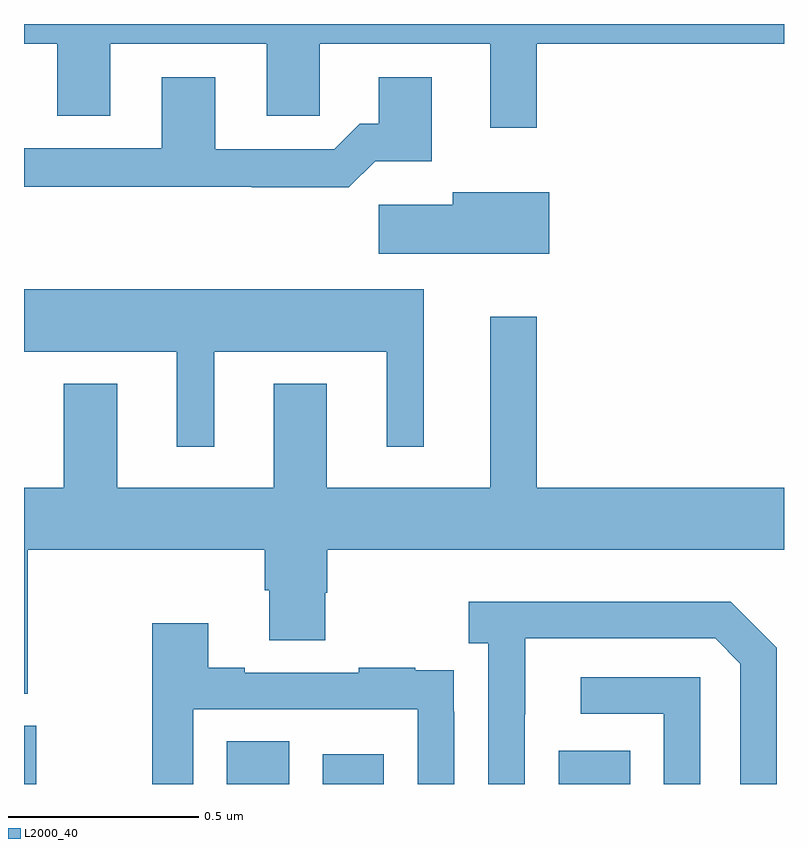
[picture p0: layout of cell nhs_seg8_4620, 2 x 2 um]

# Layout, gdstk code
import gdstk
lib = gdstk.Library(unit=1e-6, precision=1e-09)
def R(c, l, rs):  # rectangles x0, y0, x1, y1
    for r in rs: c.add(gdstk.rectangle(r[:2], r[2:], *l))
def P(c, l, *ps):  # polygons
    for p in ps: c.add(gdstk.Polygon(p, *l))
L2000_40 = (2000, 40)

nhs_seg8_4620 = lib.new_cell('nhs_seg8_4620')
R(nhs_seg8_4620, L2000_40, [(173,1099.9,173.032,1100.053), (173.534,1099.9,173.698,1100.012), (173.786,1099.9,173.947,1099.978), (174.407,1099.9,174.595,1099.987)])
P(nhs_seg8_4620, L2000_40, [(174.349,1101.848),(175,1101.848),(175,1101.9),(173,1101.9),(173,1101.848),(173.087,1101.848),(173.087,1101.658),(173.227,1101.658),(173.227,1101.848),(173.639,1101.848),(173.639,1101.658),(173.778,1101.658),(173.778,1101.848),(174.227,1101.848),(174.227,1101.627),(174.349,1101.627)],
  [(173.924,1101.539),(174.073,1101.539),(174.073,1101.76),(173.933,1101.76),(173.933,1101.637),(173.884,1101.637),(173.817,1101.57),(173.503,1101.57),(173.503,1101.76),(173.363,1101.76),(173.363,1101.573),(173,1101.573),(173,1101.472),(173.599,1101.472),(173.599,1101.47),(173.855,1101.47)],
  [(174.382,1101.457),(174.128,1101.457),(174.128,1101.425),(173.934,1101.425),(173.934,1101.296),(174.382,1101.296)],
  [(173.5,1101.038),(173.954,1101.038),(173.954,1100.787),(174.052,1100.787),(174.052,1101.202),(173,1101.202),(173,1101.038),(173.402,1101.038),(173.402,1100.787),(173.5,1100.787)],
  [(173.01,1100.516),(173.633,1100.516),(173.633,1100.41),(173.645,1100.41),(173.645,1100.278),(173.793,1100.278),(173.793,1100.403),(173.798,1100.403),(173.798,1100.516),(175,1100.516),(175,1100.68),(174.349,1100.68),(174.349,1101.13),(174.227,1101.13),(174.227,1100.68),(173.797,1100.68),(173.797,1100.953),(173.657,1100.953),(173.657,1100.68),(173.245,1100.68),(173.245,1100.953),(173.105,1100.953),(173.105,1100.68),(173,1100.68),(173,1100.138),(173.01,1100.138)],
  [(174.318,1100.083),(174.319,1100.083),(174.319,1100.283),(174.819,1100.283),(174.885,1100.217),(174.885,1099.9),(174.981,1099.9),(174.981,1100.259),(174.86,1100.38),(174.171,1100.38),(174.171,1100.27),(174.222,1100.27),(174.222,1099.9),(174.318,1099.9)],
  [(173.445,1100.097),(174.036,1100.097),(174.036,1099.9),(174.132,1099.9),(174.132,1100.09),(174.131,1100.09),(174.131,1100.199),(174.029,1100.199),(174.029,1100.206),(173.881,1100.206),(173.881,1100.193),(173.581,1100.193),(173.581,1100.206),(173.485,1100.206),(173.485,1100.323),(173.337,1100.323),(173.337,1099.9),(173.445,1099.9)],
  [(174.78,1100.181),(174.465,1100.181),(174.465,1100.085),(174.684,1100.085),(174.684,1099.9),(174.78,1099.9)])

lib.write_gds('nhs_seg8_4620.gds')
